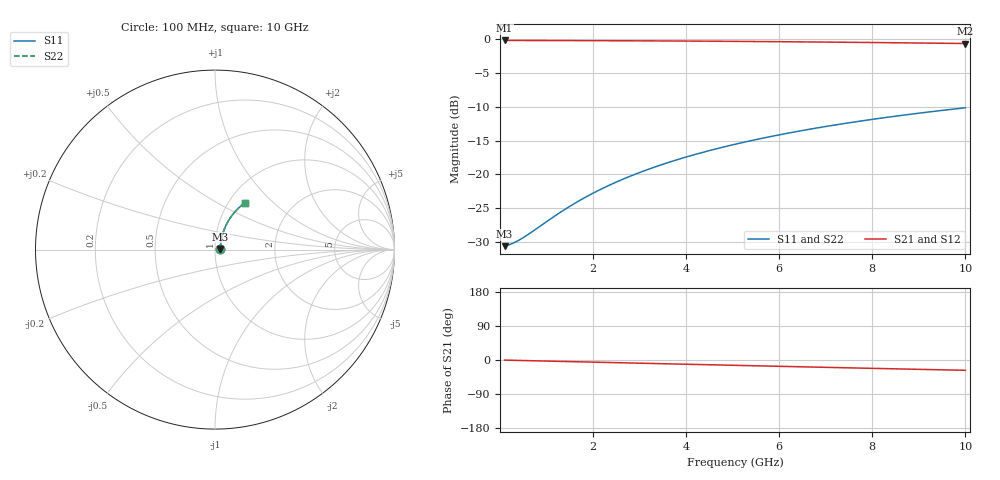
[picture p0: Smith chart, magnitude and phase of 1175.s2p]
# Hz S RI R 50.00
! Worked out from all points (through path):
!   100 points, 100 MHz to 10 GHz, reference 50 ohm
!   highest |S21| = -0.26 dB at 100 MHz (marker M1); lowest = -0.7 dB at 10 GHz (marker M2)
!   group delay of S21, straight-line fit = 7.58 ps
!   lowest |S11| = -30.6 dB at 100 MHz (marker M3), VSWR 1.06, Z = 53 + j0.336 ohm
!   |S11| at or under -10 dB: start of sweep to end of sweep
!   |S22| runs from -30.6 to -10.2 dB; largest |S21 - S12| = 0
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1e8  0.0294 0.00317  0.9706 -0.00477  0.9706 -0.00477  0.0294 0.00317
2e8  0.0297 0.00633  0.9703 -0.00953  0.9703 -0.00953  0.0297 0.00633
3e8  0.0299 0.0095  0.9701 -0.0143  0.9701 -0.0143  0.0299 0.0095
5e8  0.0304 0.0158  0.9696 -0.0238  0.9696 -0.0238  0.0304 0.0158
7e8  0.0309 0.0221  0.969 -0.0333  0.969 -0.0333  0.0309 0.0221
1.3e9  0.0331 0.041  0.9667 -0.0617  0.9667 -0.0617  0.0331 0.041
1.5e9  0.034 0.0472  0.9656 -0.0712  0.9656 -0.0712  0.034 0.0472
1.8e9  0.0357 0.0565  0.9639 -0.0853  0.9639 -0.0853  0.0357 0.0565
2.1e9  0.0376 0.0658  0.9618 -0.0993  0.9618 -0.0993  0.0376 0.0658
2.5e9  0.0405 0.078  0.9586 -0.1179  0.9586 -0.1179  0.0405 0.078
2.9e9  0.0439 0.09  0.9549 -0.1364  0.9549 -0.1364  0.0439 0.09
3.4e9  0.0488 0.1049  0.9496 -0.1593  0.9496 -0.1593  0.0488 0.1049
3.8e9  0.0532 0.1165  0.9448 -0.1773  0.9448 -0.1773  0.0532 0.1165
4.2e9  0.0581 0.128  0.9396 -0.1952  0.9396 -0.1952  0.0581 0.128
4.6e9  0.0633 0.1392  0.9339 -0.2128  0.9339 -0.2128  0.0633 0.1392
5.1e9  0.0705 0.1529  0.9261 -0.2345  0.9261 -0.2345  0.0705 0.1529
5.9e9  0.0831 0.1738  0.9123 -0.2684  0.9123 -0.2684  0.0831 0.1738
6.7e9  0.0972 0.1936  0.8968 -0.301  0.8968 -0.301  0.0972 0.1936
7.5e9  0.1126 0.2121  0.8799 -0.3324  0.8799 -0.3324  0.1126 0.2121
8.4e9  0.1313 0.2312  0.8594 -0.3661  0.8594 -0.3661  0.1313 0.2312
9.2e9  0.1489 0.2466  0.8398 -0.3946  0.8398 -0.3946  0.1489 0.2466
1e10  0.1674 0.2606  0.8192 -0.4216  0.8192 -0.4216  0.1674 0.2606
